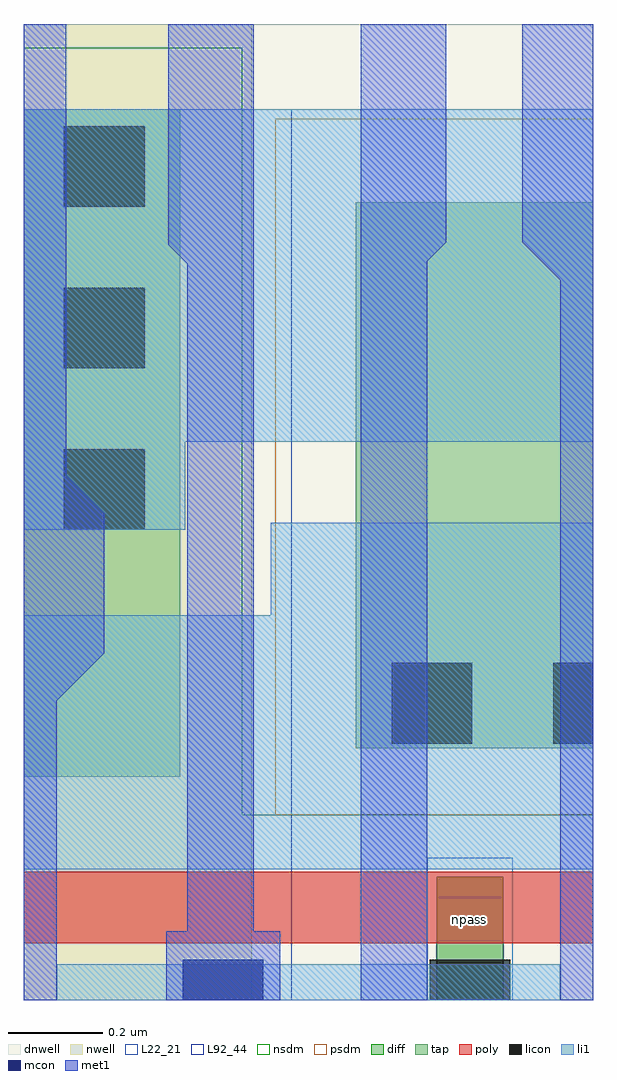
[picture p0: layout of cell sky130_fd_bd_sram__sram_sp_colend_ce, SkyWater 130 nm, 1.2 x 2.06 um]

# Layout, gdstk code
import gdstk
lib = gdstk.Library(unit=1e-6, precision=1e-09)
def R(c, l, rs):  # rectangles x0, y0, x1, y1
    for r in rs: c.add(gdstk.rectangle(r[:2], r[2:], *l))
def A(c, l, x, y, w, h, nx, ny, dx, dy):  # array of equal rectangles
    R(c, l, [(x+i*dx, y+j*dy, x+i*dx+w, y+j*dy+h) for i in range(nx) for j in range(ny)])
def P(c, l, *ps):  # polygons
    for p in ps: c.add(gdstk.Polygon(p, *l))
L22_21 = (22, 21)
dnwell = (64, 18)
nwell = (64, 20)
diff = (65, 20)
tap = (65, 44)
poly = (66, 20)
licon = (66, 44)
li1 = (67, 20)
mcon = (67, 44)
met1 = (68, 20)
L92_44 = (92, 44)
nsdm = (93, 44)
psdm = (94, 20)

sky130_fd_bd_sram__sram_ = lib.new_cell('sky130_fd_bd_sram__sram_sp_colend_ce')
P(sky130_fd_bd_sram__sram_, L22_21, [(0.85,0),(0.85,0.3),(1.03,0.3),(1.03,0),(1.01,0),(1.01,0.215),(0.87,0.215),(0.87,0)])
R(sky130_fd_bd_sram__sram_, dnwell, [(0,0,1.2,2.055)])
R(sky130_fd_bd_sram__sram_, nwell, [(0,0,0.48,2.055)])
R(sky130_fd_bd_sram__sram_, diff, [(0.87,0,1.01,0.26)])
R(sky130_fd_bd_sram__sram_, tap, [(0,0.47,0.33,1.875), (0.7,0.53,1.2,1.68)])
R(sky130_fd_bd_sram__sram_, poly, [(0,0.12,1.2,0.27)])
A(sky130_fd_bd_sram__sram_, licon, 0.085, 0.99, 0.17, 0.17, 1, 3, 0, 0.34)
R(sky130_fd_bd_sram__sram_, licon, [(0.855,0,1.025,0.085), (0.775,0.54,0.945,0.71), (1.115,0.54,1.2,0.71)])
R(sky130_fd_bd_sram__sram_, li1, [(0.07,0,1.13,0.075)])
P(sky130_fd_bd_sram__sram_, li1, [(0,0.99),(0,1.875),(1.2,1.875),(1.2,1.175),(0.34,1.175),(0.34,0.99)],
  [(0,0.275),(0,0.81),(0.52,0.81),(0.52,1.005),(1.2,1.005),(1.2,0.275)])
R(sky130_fd_bd_sram__sram_, mcon, [(0.335,0,0.505,0.085)])
P(sky130_fd_bd_sram__sram_, met1, [(0,0),(0,2.055),(0.09,2.055),(0.09,1.105),(0.17,1.025),(0.17,0.73),(0.07,0.63),(0.07,0)],
  [(0.3,0),(0.3,0.145),(0.345,0.145),(0.345,1.55),(0.305,1.59),(0.305,2.055),(0.485,2.055),(0.485,0.145),(0.54,0.145),(0.54,0)],
  [(0.71,0),(0.71,2.055),(0.89,2.055),(0.89,1.595),(0.85,1.555),(0.85,0)],
  [(1.13,0),(1.13,1.515),(1.05,1.595),(1.05,2.055),(1.2,2.055),(1.2,0)])
R(sky130_fd_bd_sram__sram_, L92_44, [(0,0,0.565,1.875)])
P(sky130_fd_bd_sram__sram_, nsdm, [(0,0),(0,2.005),(0.46,2.005),(0.46,0.39),(1.2,0.39),(1.2,0)])
R(sky130_fd_bd_sram__sram_, psdm, [(0.53,0.39,1.2,1.855)])
sky130_fd_bd_sram__sram_.add(gdstk.Label('npass', (0.94,0.17), layer=66, texttype=83))

lib.write_gds('sky130_fd_bd_sram__sram_sp_colend_ce.gds')
